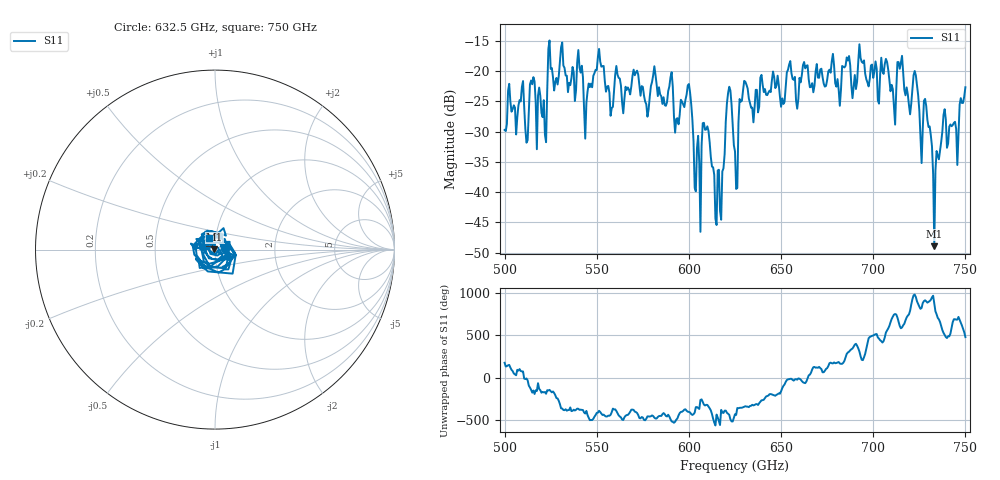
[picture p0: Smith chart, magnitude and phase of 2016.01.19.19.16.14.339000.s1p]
!Created with skrf (http://scikit-rf.org).
# GHz S RI R 50.0
!freq ReS11 ImS11
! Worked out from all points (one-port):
!   401 points, 500 GHz to 750 GHz, reference 50 ohm
!   lowest |S11| = -48.9 dB at 733.1 GHz (marker M1), VSWR 1.01, Z = 49.7 + j0.191 ohm
!   |S11| at or under -10 dB: start of sweep to end of sweep
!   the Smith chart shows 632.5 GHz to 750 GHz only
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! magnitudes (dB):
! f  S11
! 500 GHz  -29.7
! 508.8 GHz  -25.0
! 511.9 GHz  -31.8
! 515 GHz  -22.2
! 521.2 GHz  -24.8
! 524.4 GHz  -15.0
! 531.2 GHz  -15.3
! 544.4 GHz  -25.3
! 550.6 GHz  -17.7
! 562.5 GHz  -21.3
! 590 GHz  -21.0
! 593.8 GHz  -27.8
! 600 GHz  -22.2
! 605 GHz  -30.7
! 608.8 GHz  -29.7
! 616.2 GHz  -36.3
! 621.9 GHz  -22.6
! 625 GHz  -33.3
! 630.6 GHz  -21.8
! 656.2 GHz  -21.3
! 687.5 GHz  -19.0
! 706.9 GHz  -18.0
! 710.6 GHz  -23.0
! 714.4 GHz  -19.6
! 718.8 GHz  -23.9
! 728.8 GHz  -25.8
! 733.1 GHz  -48.9
! 750 GHz  -22.7
